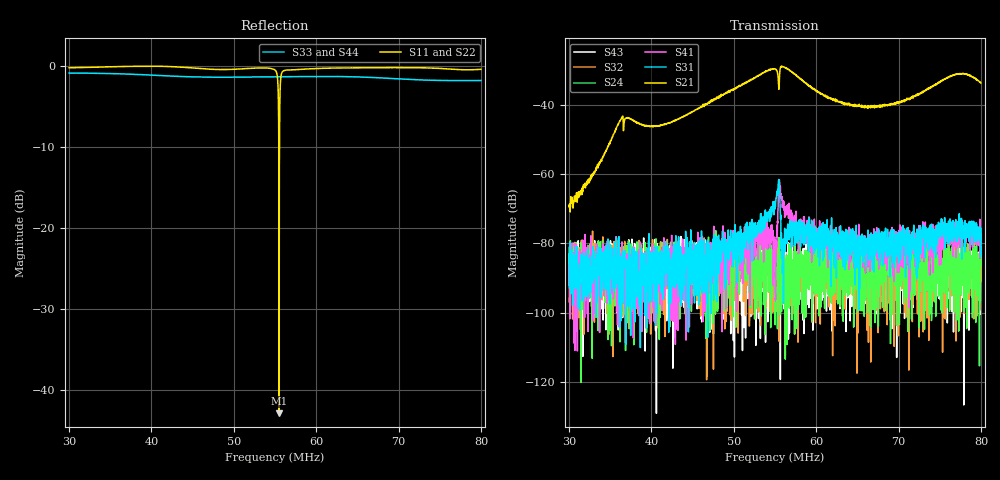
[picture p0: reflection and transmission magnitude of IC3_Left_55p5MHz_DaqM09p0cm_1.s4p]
#  HZ  S  DB  R  50.00
! Rohde & Schwarz Vector Network Analyzer
! Rohde-Schwarz,ZNB8-4Port,1311601044102961,2.82
! Created: UTC 2/13/2019, 9:52:55 AM
! freq[Hz]  db:S11  ang:S11  db:S12  ang:S12  db:S13  ang:S13  db:S14  ang:S14
!  db:S21  ang:S21  db:S22  ang:S22  db:S23  ang:S23  db:S24  ang:S24
!  db:S31  ang:S31  db:S32  ang:S32  db:S33  ang:S33  db:S34  ang:S34
!  db:S41  ang:S41  db:S42  ang:S42  db:S43  ang:S43  db:S44  ang:S44
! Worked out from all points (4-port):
!   2001 points, 30 MHz to 80 MHz, reference 50 ohm
!   strongest paths, dB at 30 MHz, 42.5 MHz, 55 MHz, 67.5 MHz, 80 MHz:
!     S21: -69.3, -45.0, -29.7, -40.3, -33.7
!     S31: -92.8, -86.6, -70.1, -82.9, -75.5
!     S41: -86.4, -90.0, -79.1, -81.0, -77.3
!     S24: -81.2, -92.0, -86.9, -85.4, -86.5
!     S32: -96.9, -94.0, -87.0, -90.3, -90.8
!     S43: -92.1, -95.4, -84.0, -85.9, -88.2
!   lowest |S11| = -42.8 dB at 55.5 MHz (marker M1), VSWR 1.01, Z = 49.3 - j0.287 ohm
!   |S11| at or under -10 dB: 55.46046 MHz to 55.54064 MHz (80.18 kHz wide, 0.144 % of centre)
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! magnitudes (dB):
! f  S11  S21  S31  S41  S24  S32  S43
! 30 MHz  -0.3  -69.3  -92.8  -86.4  -81.2  -96.9  -92.1
! 36.3 MHz  -0.1  -44.2  -102.3  -86.1  -91.7  -81.1  -89.9
! 55.02 MHz  -0.6  -29.7  -67.8  -81.4  -103.5  -86.2  -86.7
! 55.5 MHz  -42.8  -34.7  -62.3  -62.3  -91.3  -84.2  -108.1
! 55.95 MHz  -0.7  -29.1  -88.1  -69.5  -96.1  -85.4  -83.0
! 65.67 MHz  -0.3  -40.5  -81.7  -86.8  -91.3  -86.5  -86.9
! 80 MHz  -0.5  -33.7  -75.5  -77.3  -86.5  -90.8  -88.2
